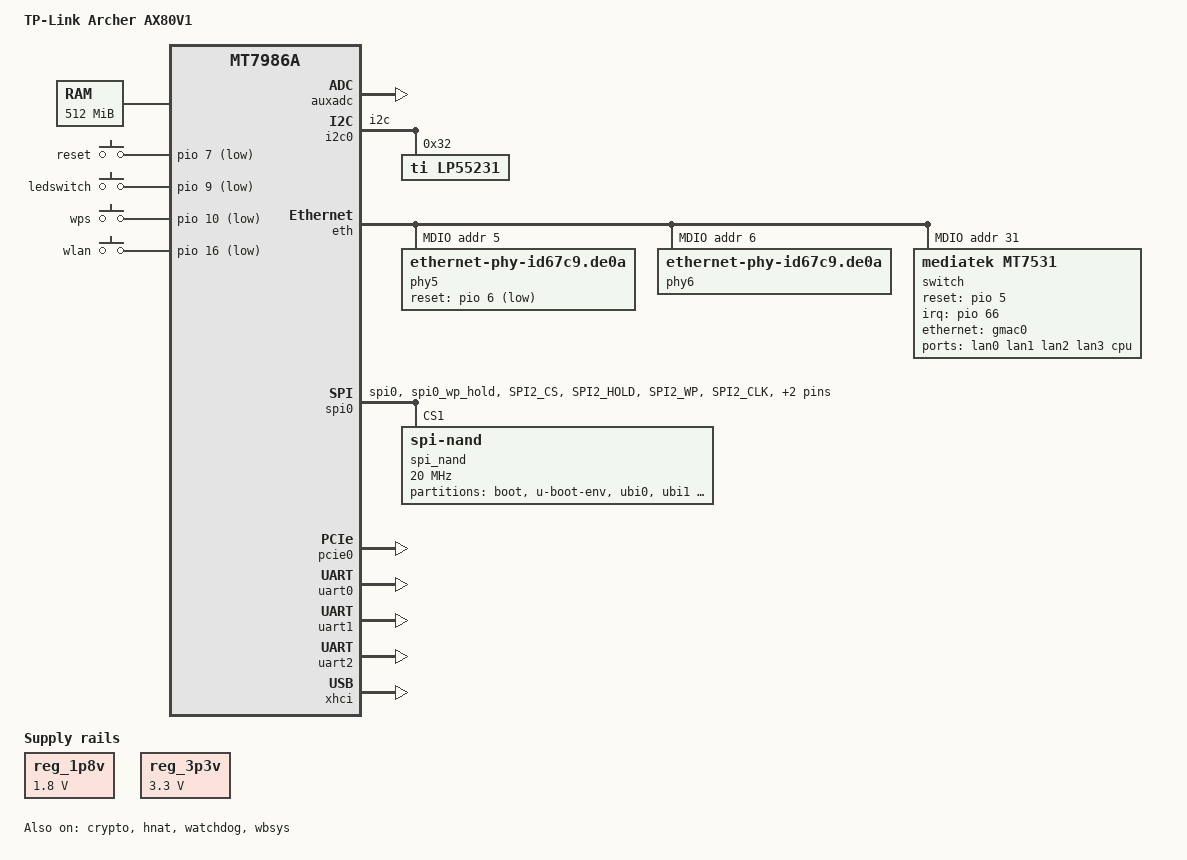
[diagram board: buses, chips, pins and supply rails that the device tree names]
// SPDX-License-Identifier: (GPL-2.0-only OR MIT)

/dts-v1/;
#include <dt-bindings/input/input.h>
#include <dt-bindings/gpio/gpio.h>
#include <dt-bindings/leds/common.h>

#include "mt7986a.dtsi"
#include "mt7986a-pinctrl.dtsi"

/ {
	model = "TP-Link Archer AX80V1";
	compatible = "tplink,archer-ax80-v1", "mediatek,mt7986a";
	
	aliases {
		serial0 = &uart0;
	};
	
	chosen {
		bootargs = "console=ttyS0,115200n1 loglevel=8 earlycon=uart8250,mmio32,0x11002000 init=/etc/preinit";
	};
	
	memory {
		reg = <0 0x40000000 0 0x20000000>;
	};
	
	gpio-keys {
		compatible = "gpio-keys";
	
		reset {
			label = "reset";
			linux,code = <KEY_RESTART>;
			gpios = <&pio 7 GPIO_ACTIVE_LOW>;
		};
		ledswitch {
			label = "ledswitch";
			linux,code = <KEY_BRIGHTNESS_ZERO>;
			gpios = <&pio 9 GPIO_ACTIVE_LOW>;
		};
		wps {
			label = "wps";
			linux,code = <KEY_WPS_BUTTON>;
			gpios = <&pio 10 GPIO_ACTIVE_LOW>;
		};
		wifi {
			label = "wlan";
			linux,code = <KEY_WLAN>;
			gpios = <&pio 16 GPIO_ACTIVE_LOW>;
		};
	};
	
	reg_1p8v: regulator-1p8v {
		compatible = "regulator-fixed";
		regulator-name = "fixed-1.8V";
		regulator-min-microvolt = <1800000>;
		regulator-max-microvolt = <1800000>;
		regulator-boot-on;
		regulator-always-on;
	};
	
	reg_3p3v: regulator-3p3v {
		compatible = "regulator-fixed";
		regulator-name = "fixed-3.3V";
		regulator-min-microvolt = <3300000>;
		regulator-max-microvolt = <3300000>;
		regulator-boot-on;
		regulator-always-on;
	};
};

&auxadc {
        status = "okay";
};

&crypto {
	status = "okay";
};

&i2c0 {
		pinctrl-names = "default";
		pinctrl-0 = <&i2c_pins>;
		status = "okay";
		
	lp55231@32 {
		compatible = "ti,lp55231";
		reg = <0x32>;
		clock-mode = /bits/ 8 <1>;
		
		chan0 {
			chan-name = "d1";
			led-cur = /bits/ 8 <0x14>;
			max-cur = /bits/ 8 <0x20>;
		};
					
		chan1 {
			chan-name = "d2";
			led-cur = /bits/ 8 <0x14>;
			max-cur = /bits/ 8 <0x20>;
		};
		
		chan2 {
			chan-name = "d3";
			led-cur = /bits/ 8 <0x14>;
			max-cur = /bits/ 8 <0x20>;
		};
		
		chan3 {
			chan-name = "d4";
			led-cur = /bits/ 8 <0x14>;
			max-cur = /bits/ 8 <0x20>;
		};
		
		chan4 {
			chan-name = "d5";
			led-cur = /bits/ 8 <0x14>;
			max-cur = /bits/ 8 <0x20>;
		};
		
		chan5 {
			chan-name = "d6";
			led-cur = /bits/ 8 <0x14>;
			max-cur = /bits/ 8 <0x20>;
		};
		
		chan6 {
			chan-name = "d7";
			led-cur = /bits/ 8 <0x14>;
			max-cur = /bits/ 8 <0x20>;
		};
		
		chan7 {
			chan-name = "d8";
			led-cur = /bits/ 8 <0x14>;
			max-cur = /bits/ 8 <0x20>;
		};
		
		chan8 {
			chan-name = "d9";
			led-cur = /bits/ 8 <0x14>;
			max-cur = /bits/ 8 <0x20>;
		};
	};
};

&eth {
	status = "okay";
	
	gmac0: mac@0 {
		compatible = "mediatek,eth-mac";
		reg = <0>;
		phy-mode = "2500base-x";
		
		fixed-link {
			speed = <2500>;
			full-duplex;
			pause;
		};
	};
	
	gmac1: mac@1 {
		compatible = "mediatek,eth-mac";
		reg = <1>;
		phy-mode = "2500base-x";
		
		fixed-link {
			speed = <2500>;
			full-duplex;
			pause;
		};
	};
	
	mdio: mdio-bus {
		#address-cells = <1>;
		#size-cells = <0>;
		
		phy5: phy@5 {
			compatible = "ethernet-phy-id67c9.de0a";
			reg = <5>;
			reset-gpios = <&pio 6 1>;
			reset-assert-us = <600>;
			reset-deassert-us = <20000>;
			phy-mode = "2500base-x";
		};
		
		phy6: phy@6 {
			compatible = "ethernet-phy-id67c9.de0a";
			reg = <6>;
			phy-mode = "2500base-x";
		};
		
		switch@0 {
			compatible = "mediatek,mt7531";
			reg = <31>;
			reset-gpios = <&pio 5 GPIO_ACTIVE_HIGH>;
			interrupt-controller;
			#interrupt-cells = <1>;
			interrupt-parent = <&pio>;
			interrupts = <66 IRQ_TYPE_LEVEL_HIGH>;
			
			ports {
				#address-cells = <1>;
				#size-cells = <0>;
				
				port@0 {
					reg = <0>;
					label = "lan0";
				};
				
				port@1 {
					reg = <1>;
					label = "lan1";
				};
				
				port@2 {
					reg = <2>;
					label = "lan2";
				};
				
				port@3 {
					reg = <3>;
					label = "lan3";
				};
				
				port@6 {
					reg = <6>;
					label = "cpu";
					ethernet = <&gmac0>;
					phy-mode = "2500base-x";
					
					fixed-link {
						speed = <2500>;
						full-duplex;
						pause;
					};
				};
			};
		};
	};
};

&hnat {
	mtketh-wan = "eth1";
	mtketh-lan = "lan";
	mtketh-max-gmac = <2>;
	status = "okay";
};

&spi0 {
    pinctrl-names = "default";
    pinctrl-0 = <&spi_flash_pins>;
    cs-gpios = <0>, <0>;
    status = "okay";
    #address-cells = <1>;
    #size-cells = <0>;
	
    spi_nand: spi_nand@1 {
		#address-cells = <1>;
		#size-cells = <1>;
		compatible = "spi-nand";
		reg = <1>;
		spi-max-frequency = <20000000>;
		spi-tx-bus-width = <4>;
		spi-rx-bus-width = <4>;
		spi-cal-enable;
		spi-cal-mode = "read-data";
		spi-cal-datalen = <7>;
		spi-cal-data = /bits/ 8 <0x53 0x50 0x49 0x4E 0x41 0x4E 0x44>;
		spi-cal-addrlen = <5>;
		spi-cal-addr = /bits/ 32 <0x0 0x0 0x0 0x0 0x0>;
	
        partitions {
            compatible = "fixed-partitions";
            #address-cells = <1>;
            #size-cells = <1>;
	
            partition@0 {
                label = "boot";
                reg = <0x000000 0x0200000>;
                read-only;
            };
            partition@200000 {
                label = "u-boot-env";
                reg = <0x0200000 0x0100000>;
            };
            partition@300000 {
                label = "ubi0";
                reg = <0x300000 0x3200000>;
            };
            partition@3500000 {
                label = "ubi1";
                reg = <0x3500000 0x3200000>;
            };
            partition@6700000 {
                label = "userconfig";
                reg = <0x6700000 0x800000>;
            };
            factory:partition@6f00000 {
                label = "tp_data";
                reg = <0x6f00000 0x400000>;
            };
            partition@7300000 {
                label = "mali_data";
                reg = <0x7300000 0x800000>;
            };
        };
    };
};

&pcie0 {
	pinctrl-names = "default";
	pinctrl-0 = <&pcie0_pins>;
	status = "okay";
};

&pio {
	i2c_pins: i2c-pins-3-4 {
		mux {
			function = "i2c";
			groups = "i2c";
		};
	};
	
	spi_flash_pins: spi-flash-pins-33-to-38 {
		mux {
			function = "flash";
			groups = "spi0", "spi0_wp_hold";
		};
		conf-pu {
			pins = "SPI2_CS", "SPI2_HOLD", "SPI2_WP";
			drive-strength = <MTK_DRIVE_8mA>;
			bias-pull-up = <MTK_PUPD_SET_R1R0_11>;
		};
		conf-pd {
			pins = "SPI2_CLK", "SPI2_MOSI", "SPI2_MISO";
			drive-strength = <MTK_DRIVE_8mA>;
			bias-pull-down = <MTK_PUPD_SET_R1R0_11>;
		};
	};
};

&uart0 {
	status = "okay";
};

&uart1 {
	pinctrl-names = "default";
	pinctrl-0 = <&uart1_pins>;
	status = "okay";
};

&uart2 {
	pinctrl-names = "default";
	pinctrl-0 = <&uart2_pins>;
	status = "okay";
};

&xhci {
	status = "okay";
};

&watchdog {
	status = "okay";
};

&wbsys {
	status = "okay";
};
